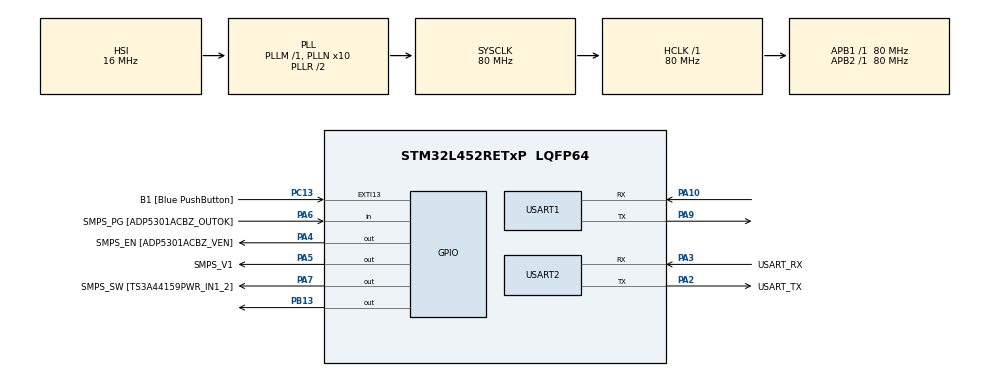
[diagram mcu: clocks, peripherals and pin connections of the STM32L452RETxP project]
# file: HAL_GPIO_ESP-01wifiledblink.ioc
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Mcu.Family=STM32L4
Mcu.Name=STM32L452RETxP
Mcu.Package=LQFP64
NVIC.PriorityGroup=NVIC_PRIORITYGROUP_4
PA10.Mode=Asynchronous
PA10.Signal=USART1_RX
PA13\ (JTMS/SWDIO).GPIO_Label=TMS
PA13\ (JTMS/SWDIO).Mode=Serial_Wire
PA13\ (JTMS/SWDIO).Signal=SYS_JTMS-SWDIO
PA14\ (JTCK/SWCLK).GPIO_Label=TCK
PA14\ (JTCK/SWCLK).Mode=Serial_Wire
PA14\ (JTCK/SWCLK).Signal=SYS_JTCK-SWCLK
PA2.GPIO_Label=USART_TX
PA2.GPIO_Mode=GPIO_MODE_AF_PP
PA2.GPIO_PuPd=GPIO_NOPULL
PA2.GPIO_Speed=GPIO_SPEED_FREQ_VERY_HIGH
PA2.Mode=Asynchronous
PA2.Signal=USART2_TX
PA3.GPIO_Label=USART_RX
PA3.GPIO_Mode=GPIO_MODE_AF_PP
PA3.GPIO_PuPd=GPIO_NOPULL
PA3.GPIO_Speed=GPIO_SPEED_FREQ_VERY_HIGH
PA3.Mode=Asynchronous
PA3.Signal=USART2_RX
PA4.GPIO_Label=SMPS_EN [ADP5301ACBZ_VEN]
PA4.Signal=GPIO_Output
PA5.GPIO_Label=SMPS_V1
PA5.GPIO_ModeDefaultOutputPP=GPIO_MODE_OUTPUT_PP
PA5.GPIO_PuPd=GPIO_NOPULL
PA5.GPIO_Speed=GPIO_SPEED_FREQ_LOW
PA5.Signal=GPIO_Output
PA6.GPIO_Label=SMPS_PG [ADP5301ACBZ_OUTOK]
PA6.GPIO_PuPd=GPIO_PULLUP
PA6.Signal=GPIO_Input
PA7.GPIO_Label=SMPS_SW [TS3A44159PWR_IN1_2]
PA7.Signal=GPIO_Output
PA9.Mode=Asynchronous
PA9.Signal=USART1_TX
PB13.Signal=GPIO_Output
PB3\ (JTDO/TRACESWO).GPIO_Label=SWO
PB3\ (JTDO/TRACESWO).Signal=SYS_JTDO-SWO
PC13.GPIO_Label=B1 [Blue PushButton]
PC13.GPIO_ModeDefaultEXTI=GPIO_MODE_IT_FALLING
PC13.GPIO_PuPd=GPIO_NOPULL
PC13.Signal=GPXTI13
PC14-OSC32_IN\ (PC14).Signal=RCC_OSC32_IN
PC15-OSC32_OUT\ (PC15).Signal=RCC_OSC32_OUT
PH0-OSC_IN\ (PH0).GPIO_Label=MCO
PH0-OSC_IN\ (PH0).Signal=RCC_OSC_IN
PH1-OSC_OUT\ (PH1).Signal=RCC_OSC_OUT
ProjectManager.HeapSize=0x200
ProjectManager.StackSize=0x400
ProjectManager.TargetToolchain=STM32CubeIDE
RCC.ADCFreq_Value=64000000
RCC.AHBFreq_Value=80000000
RCC.APB1Freq_Value=80000000
RCC.APB1TimFreq_Value=80000000
RCC.APB2Freq_Value=80000000
RCC.APB2TimFreq_Value=80000000
RCC.CortexFreq_Value=80000000
RCC.HCLKFreq_Value=80000000
RCC.HSE_VALUE=8000000
RCC.HSI48_VALUE=48000000
RCC.HSI_VALUE=16000000
RCC.MSI_VALUE=4000000
RCC.PLLN=10
RCC.PLLSourceVirtual=RCC_PLLSOURCE_HSI
RCC.PREFETCH_ENABLE=1
RCC.SYSCLKFreq_VALUE=80000000
RCC.SYSCLKSource=RCC_SYSCLKSOURCE_PLLCLK
RCC.USBFreq_Value=64000000
RCC.VCOOutputFreq_Value=160000000
USART1.VirtualMode-Asynchronous=VM_ASYNC
USART2.VirtualMode-Asynchronous=VM_ASYNC
board=NUCLEO-L452RE-P

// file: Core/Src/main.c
/* USER CODE BEGIN Header */
/**
  ******************************************************************************
  * @file           : main.c
  * @brief          : Main program body
  ******************************************************************************
  * @attention
  *
  * Copyright (c) 2024 STMicroelectronics.
  * All rights reserved.
  *
  * This software is licensed under terms that can be found in the LICENSE file
  * in the root directory of this software component.
  * If no LICENSE file comes with this software, it is provided AS-IS.
  *
  ******************************************************************************
  */
/* USER CODE END Header */
#include "main.h"

/* USER CODE BEGIN Includes */
#include "string.h"
#include "stdio.h"
/* USER CODE END Includes */

UART_HandleTypeDef huart1;
UART_HandleTypeDef huart2;

void SystemClock_Config(void);
static void MX_GPIO_Init(void);
static void MX_USART2_UART_Init(void);
static void MX_USART1_UART_Init(void);

int main(void)
{

  /* MCU Configuration--------------------------------------------------------*/

  /* Reset of all peripherals, Initializes the Flash interface and the Systick. */
  HAL_Init();

  /* Configure the system clock */
  SystemClock_Config();

  /* Initialize all configured peripherals */
  MX_GPIO_Init();
  MX_USART2_UART_Init();
  MX_USART1_UART_Init();
  /* USER CODE BEGIN 2 */
  uint8_t rxBuffer[512] = {0};
   uint8_t ATisOK;
   int channel;
   int onoff;
   int led = 1;
   char ATcommand[64];
   char ATcommandB[1024];
   char ATcommandN[100];
   char ATcommandF[100];
   char ATcommandT[16];
   sprintf(ATcommandB,"<!DOCTYPE html><html>\n<head>\n\
   <title>STM32 - ESP8266</title>\n<link href=\"data:image/x-icon;base64,\
   A\" rel=\"icon\" type=\"image/x-icon\"><style>\nhtml {\
   display: inline-block; margin: 0px auto; text-align: center;}\n\
   body{margin-top: 50px;}\n.button {display: block;\n\
   width: 70px;\nbackground-color: #008000;\nborder: none;\ncolor: white;\n\
   padding: 14px 28px;\ntext-decoration: none;\nfont-size: 24px;\n\
   margin: 0px auto 36px; \nborder-radius: 5px;}\n\
   .button-on {background-color: #008000;}\n.button-on:active\
   {background-color: #008000;}\n.button-off {background-color: #808080;}\n\
   .button-off:active {background-color: #808080;}\n\
   p {font-size: 14px;color: #808080;margin-bottom: 20px;}\n\
   </style>\n</head>\n<body>\n<h1>STM32 - ESP8266</h1>");
   sprintf(ATcommandN,"<p>Light is currently on\
   </p><a class=\"button button-off\" href=\"/lightoff\">OFF</a>");
   sprintf(ATcommandF,"<p>Light is currently off\
   </p><a class=\"button button-on\" href=\"/lighton\">ON</a>");
   sprintf(ATcommandT,"</body></html>");
   int countB = strlen(ATcommandB);
   int countN = strlen(ATcommandN);
   int countF = strlen(ATcommandF);
   int countT = strlen(ATcommandT);

   sprintf(ATcommand,"AT+RST\r\n");
   memset(rxBuffer,0,sizeof(rxBuffer));
   HAL_UART_Transmit(&huart1,(uint8_t *)ATcommand,strlen(ATcommand),1000);
   HAL_UART_Receive (&huart1, rxBuffer, 512, 100);
   HAL_Delay(500);

   ATisOK = 0;
   while(!ATisOK){
     sprintf(ATcommand,"AT+CWMODE_CUR=2\r\n");
       memset(rxBuffer,0,sizeof(rxBuffer));
       HAL_UART_Transmit(&huart1,(uint8_t *)ATcommand,strlen(ATcommand),1000);
       HAL_UART_Receive (&huart1, rxBuffer, 512, 1000);
     if(strstr((char *)rxBuffer,"OK")){
       ATisOK = 1;
     }
     HAL_Delay(500);
   }

   ATisOK = 0;
   while(!ATisOK){
     sprintf(ATcommand,"AT+CWSAP_CUR=\"STM32\",\"12345678\",1,3,4,0\r\n");
       memset(rxBuffer,0,sizeof(rxBuffer));
       HAL_UART_Transmit(&huart1,(uint8_t *)ATcommand,strlen(ATcommand),1000);
       HAL_UART_Receive (&huart1, rxBuffer, 512, 1000);
     if(strstr((char *)rxBuffer,"OK")){
       ATisOK = 1;
     }
     HAL_Delay(500);
   }

   ATisOK = 0;
   while(!ATisOK){
     sprintf(ATcommand,"AT+CIPAP_CUR=\"192.168.51.1\"\r\n");
     memset(rxBuffer,0,sizeof(rxBuffer));
     HAL_UART_Transmit(&huart1,(uint8_t *)ATcommand,strlen(ATcommand),1000);
     HAL_UART_Receive (&huart1, rxBuffer, 512, 1000);
     if(strstr((char *)rxBuffer,"OK")){
       ATisOK = 1;
     }
     HAL_Delay(500);
   }

   ATisOK = 0;
   while(!ATisOK){
     sprintf(ATcommand,"AT+CIPMUX=1\r\n");
       memset(rxBuffer,0,sizeof(rxBuffer));
       HAL_UART_Transmit(&huart1,(uint8_t *)ATcommand,strlen(ATcommand),1000);
       HAL_UART_Receive (&huart1, rxBuffer, 512, 1000);
       if(strstr((char *)rxBuffer,"OK")){
         ATisOK = 1;
       }
       HAL_Delay(500);
   }

   ATisOK = 0;
   while(!ATisOK){
     sprintf(ATcommand,"AT+CIPSERVER=1,80\r\n");
     memset(rxBuffer,0,sizeof(rxBuffer));
     HAL_UART_Transmit(&huart1,(uint8_t *)ATcommand,strlen(ATcommand),1000);
     HAL_UART_Receive (&huart1, rxBuffer, 512, 1000);
     if(strstr((char *)rxBuffer,"OK")){
         ATisOK = 1;
     }
     HAL_Delay(500);
   }
  /* USER CODE END 2 */

  /* Infinite loop */
  while (1)
  {
	  memset(rxBuffer,0,sizeof(rxBuffer));
	     HAL_UART_Receive (&huart1, rxBuffer, 512, 1000);
	     if(strstr((char *)rxBuffer,"+IPD,0")) channel = 0;
	     else if(strstr((char *)rxBuffer,"+IPD,1")) channel = 1;
	     else if(strstr((char *)rxBuffer,"+IPD,2")) channel = 2;
	     else if(strstr((char *)rxBuffer,"+IPD,3")) channel = 3;
	     else if(strstr((char *)rxBuffer,"+IPD,4")) channel = 4;
	     else if(strstr((char *)rxBuffer,"+IPD,5")) channel = 5;
	     else if(strstr((char *)rxBuffer,"+IPD,6")) channel = 6;
	     else if(strstr((char *)rxBuffer,"+IPD,7")) channel = 7;
	     else channel = 100;

	     if(strstr((char *)rxBuffer,"GET /lighton")) onoff = 0;
	     else if(strstr((char *)rxBuffer,"GET /lightoff")) onoff = 1;
	     else onoff = led;

	     if(channel<8 && onoff == 1)
	     {
	       HAL_GPIO_WritePin(GPIOC, GPIO_PIN_13, GPIO_PIN_SET);
	       led = 1;
	       sprintf(ATcommand,"AT+CIPSEND=%d,%d\r\n",channel,countB+countF+countT);
	       memset(rxBuffer,0,sizeof(rxBuffer));
	       HAL_UART_Transmit(&huart1,(uint8_t *)ATcommand,strlen(ATcommand),1000);
	       HAL_UART_Receive (&huart1, rxBuffer, 512, 100);
	       if(strstr((char *)rxBuffer,">"))
	       {
	         memset(rxBuffer,0,sizeof(rxBuffer));
	           HAL_UART_Transmit(&huart1,(uint8_t *)ATcommandB,countB,1000);
	           HAL_UART_Transmit(&huart1,(uint8_t *)ATcommandF,countF,1000);
	           HAL_UART_Transmit(&huart1,(uint8_t *)ATcommandT,countT,1000);
	          HAL_UART_Receive (&huart1, rxBuffer, 512, 100);
	       }
	       sprintf(ATcommand,"AT+CIPCLOSE=%d\r\n",channel);
	       memset(rxBuffer,0,sizeof(rxBuffer));
	       HAL_UART_Transmit(&huart1,(uint8_t *)ATcommand,strlen(ATcommand),1000);
	       HAL_UART_Receive (&huart1, rxBuffer, 512, 100);
	       channel=100;
	     }
	     else if(channel<8 && onoff == 0)
	     {
	       HAL_GPIO_WritePin(GPIOC, GPIO_PIN_13, GPIO_PIN_RESET);
	       led = 0;
	       sprintf(ATcommand,"AT+CIPSEND=%d,%d\r\n",channel,countB+countN+countT);
	       memset(rxBuffer,0,sizeof(rxBuffer));
	       HAL_UART_Transmit(&huart1,(uint8_t *)ATcommand,strlen(ATcommand),1000);
	       HAL_UART_Receive (&huart1, rxBuffer, 512, 100);
	       if(strstr((char *)rxBuffer,">"))
	       {
	         memset(rxBuffer,0,sizeof(rxBuffer));
	           HAL_UART_Transmit(&huart1,(uint8_t *)ATcommandB,countB,1000);
	           HAL_UART_Transmit(&huart1,(uint8_t *)ATcommandN,countN,1000);
	           HAL_UART_Transmit(&huart1,(uint8_t *)ATcommandT,countT,1000);
	           HAL_UART_Receive (&huart1, rxBuffer, 512, 100);
	       }
	       sprintf(ATcommand,"AT+CIPCLOSE=%d\r\n",channel);
	       memset(rxBuffer,0,sizeof(rxBuffer));
	       HAL_UART_Transmit(&huart1,(uint8_t *)ATcommand,strlen(ATcommand),1000);
	       HAL_UART_Receive (&huart1, rxBuffer, 512, 100);
	       channel=100;
	     }
  }
}

void SystemClock_Config(void)
{
  RCC_OscInitTypeDef RCC_OscInitStruct = {0};
  RCC_ClkInitTypeDef RCC_ClkInitStruct = {0};

  /** Configure the main internal regulator output voltage
  */
  if (HAL_PWREx_ControlVoltageScaling(PWR_REGULATOR_VOLTAGE_SCALE1) != HAL_OK)
  {
    Error_Handler();
  }

  /** Initializes the RCC Oscillators according to the specified parameters
  * in the RCC_OscInitTypeDef structure.
  */
  RCC_OscInitStruct.OscillatorType = RCC_OSCILLATORTYPE_HSI;
  RCC_OscInitStruct.HSIState = RCC_HSI_ON;
  RCC_OscInitStruct.HSICalibrationValue = 64;
  RCC_OscInitStruct.PLL.PLLState = RCC_PLL_ON;
  RCC_OscInitStruct.PLL.PLLSource = RCC_PLLSOURCE_HSI;
  RCC_OscInitStruct.PLL.PLLM = 1;
  RCC_OscInitStruct.PLL.PLLN = 10;
  RCC_OscInitStruct.PLL.PLLP = RCC_PLLP_DIV7;
  RCC_OscInitStruct.PLL.PLLQ = RCC_PLLQ_DIV2;
  RCC_OscInitStruct.PLL.PLLR = RCC_PLLR_DIV2;
  if (HAL_RCC_OscConfig(&RCC_OscInitStruct) != HAL_OK)
  {
    Error_Handler();
  }

  /** Initializes the CPU, AHB and APB buses clocks
  */
  RCC_ClkInitStruct.ClockType = RCC_CLOCKTYPE_HCLK|RCC_CLOCKTYPE_SYSCLK
                              |RCC_CLOCKTYPE_PCLK1|RCC_CLOCKTYPE_PCLK2;
  RCC_ClkInitStruct.SYSCLKSource = RCC_SYSCLKSOURCE_PLLCLK;
  RCC_ClkInitStruct.AHBCLKDivider = RCC_SYSCLK_DIV1;
  RCC_ClkInitStruct.APB1CLKDivider = RCC_HCLK_DIV1;
  RCC_ClkInitStruct.APB2CLKDivider = RCC_HCLK_DIV1;

  if (HAL_RCC_ClockConfig(&RCC_ClkInitStruct, FLASH_LATENCY_4) != HAL_OK)
  {
    Error_Handler();
  }
}

static void MX_USART1_UART_Init(void)
{

  huart1.Instance = USART1;
  huart1.Init.BaudRate = 115200;
  huart1.Init.WordLength = UART_WORDLENGTH_8B;
  huart1.Init.StopBits = UART_STOPBITS_1;
  huart1.Init.Parity = UART_PARITY_NONE;
  huart1.Init.Mode = UART_MODE_TX_RX;
  huart1.Init.HwFlowCtl = UART_HWCONTROL_NONE;
  huart1.Init.OverSampling = UART_OVERSAMPLING_16;
  huart1.Init.OneBitSampling = UART_ONE_BIT_SAMPLE_DISABLE;
  huart1.AdvancedInit.AdvFeatureInit = UART_ADVFEATURE_NO_INIT;
  if (HAL_UART_Init(&huart1) != HAL_OK)
  {
    Error_Handler();
  }

}

static void MX_USART2_UART_Init(void)
{

  huart2.Instance = USART2;
  huart2.Init.BaudRate = 115200;
  huart2.Init.WordLength = UART_WORDLENGTH_8B;
  huart2.Init.StopBits = UART_STOPBITS_1;
  huart2.Init.Parity = UART_PARITY_NONE;
  huart2.Init.Mode = UART_MODE_TX_RX;
  huart2.Init.HwFlowCtl = UART_HWCONTROL_NONE;
  huart2.Init.OverSampling = UART_OVERSAMPLING_16;
  huart2.Init.OneBitSampling = UART_ONE_BIT_SAMPLE_DISABLE;
  huart2.AdvancedInit.AdvFeatureInit = UART_ADVFEATURE_NO_INIT;
  if (HAL_UART_Init(&huart2) != HAL_OK)
  {
    Error_Handler();
  }

}

static void MX_GPIO_Init(void)
{
  GPIO_InitTypeDef GPIO_InitStruct = {0};

  /* GPIO Ports Clock Enable */
  __HAL_RCC_GPIOC_CLK_ENABLE();
  __HAL_RCC_GPIOH_CLK_ENABLE();
  __HAL_RCC_GPIOA_CLK_ENABLE();
  __HAL_RCC_GPIOB_CLK_ENABLE();

  /*Configure GPIO pin Output Level */
  HAL_GPIO_WritePin(GPIOA, SMPS_EN_Pin|SMPS_V1_Pin|SMPS_SW_Pin, GPIO_PIN_RESET);

  /*Configure GPIO pin Output Level */
  HAL_GPIO_WritePin(GPIOB, GPIO_PIN_13, GPIO_PIN_RESET);

  /*Configure GPIO pin : B1_Pin */
  GPIO_InitStruct.Pin = B1_Pin;
  GPIO_InitStruct.Mode = GPIO_MODE_IT_FALLING;
  GPIO_InitStruct.Pull = GPIO_NOPULL;
  HAL_GPIO_Init(B1_GPIO_Port, &GPIO_InitStruct);

  /*Configure GPIO pins : SMPS_EN_Pin SMPS_V1_Pin SMPS_SW_Pin */
  GPIO_InitStruct.Pin = SMPS_EN_Pin|SMPS_V1_Pin|SMPS_SW_Pin;
  GPIO_InitStruct.Mode = GPIO_MODE_OUTPUT_PP;
  GPIO_InitStruct.Pull = GPIO_NOPULL;
  GPIO_InitStruct.Speed = GPIO_SPEED_FREQ_LOW;
  HAL_GPIO_Init(GPIOA, &GPIO_InitStruct);

  /*Configure GPIO pin : SMPS_PG_Pin */
  GPIO_InitStruct.Pin = SMPS_PG_Pin;
  GPIO_InitStruct.Mode = GPIO_MODE_INPUT;
  GPIO_InitStruct.Pull = GPIO_PULLUP;
  HAL_GPIO_Init(SMPS_PG_GPIO_Port, &GPIO_InitStruct);

  /*Configure GPIO pin : PB13 */
  GPIO_InitStruct.Pin = GPIO_PIN_13;
  GPIO_InitStruct.Mode = GPIO_MODE_OUTPUT_PP;
  GPIO_InitStruct.Pull = GPIO_NOPULL;
  GPIO_InitStruct.Speed = GPIO_SPEED_FREQ_LOW;
  HAL_GPIO_Init(GPIOB, &GPIO_InitStruct);

}

void Error_Handler(void)
{
  __disable_irq();
  while (1)
  {
  }
}
